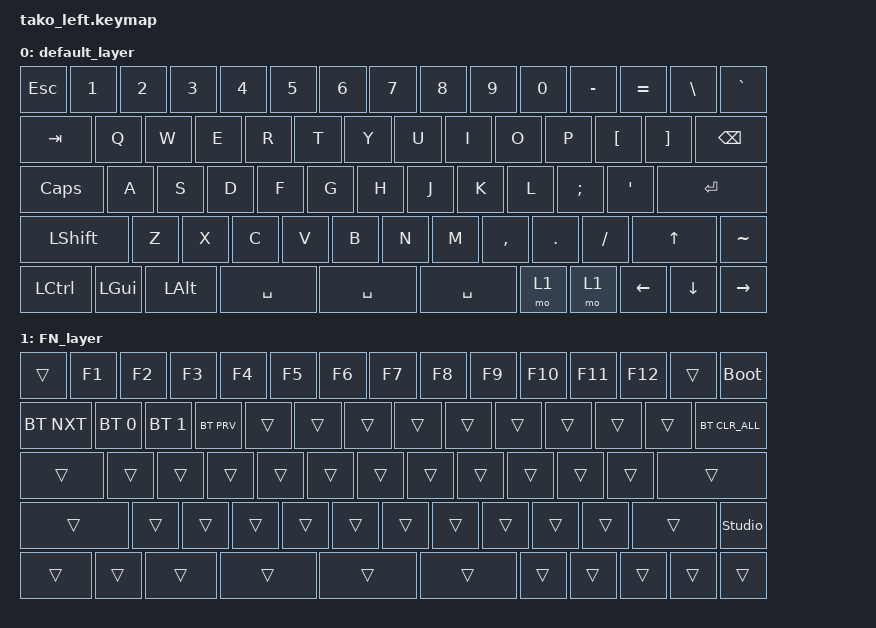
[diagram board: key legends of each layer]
/*
 * Copyright (c) 2020 The ZMK Contributors
 *
 * SPDX-License-Identifier: MIT
 */

#undef ZMK_BEHAVIORS_KEEP_ALL

#define ZMK_BEHAVIORS_KEEP_SK
#define ZMK_BEHAVIORS_KEEP_MT
#define ZMK_BEHAVIORS_KEEP_KT

#include <behaviors.dtsi>
#include <dt-bindings/zmk/keys.h>
#include <dt-bindings/zmk/bt.h>


// Using layer taps on thumbs, having quick tap as well helps w/ repeating space/backspace
&lt { quick_tap_ms = <200>; };

/ {
    behaviors {
        hm: homerow_mods {
            compatible = "zmk,behavior-hold-tap";
            label = "homerow mods";
            #binding-cells = <2>;
            tapping_term_ms = <200>;
            flavor = "tap-preferred";
            bindings = <&kp>, <&kp>;
        };
    };

    keymap {
        compatible = "zmk,keymap";

        default_layer {
            bindings = <
                &kp ESC  &kp N1  &kp N2  &kp N3  &kp N4  &kp N5  &kp N6  &kp N7  &kp N8  &kp N9  &kp N0  &kp MINUS  &kp EQUAL  &kp BSLH  &kp GRAVE
                &kp TAB  &kp Q   &kp W   &kp E   &kp R   &kp T   &kp Y   &kp U   &kp I   &kp O   &kp P   &kp LBKT   &kp RBKT   &kp BSPC
                &kp CAPS &kp A   &kp S   &kp D   &kp F   &kp G   &kp H   &kp J   &kp K   &kp L   &kp SEMI &kp APOS  &kp ENTER
                &kp LSHFT &kp Z  &kp X   &kp C   &kp V   &kp B   &kp N   &kp M  &kp COMMA &kp DOT &kp FSLH         &kp UP  &kp TILDE
                &kp LCTRL &kp LGUI  &kp LALT       &kp SPACE         &kp SPACE         &kp SPACE    &mo 1 &mo 1  &kp LEFT &kp DOWN &kp RIGHT
            >;
        };

        FN_layer {
            bindings = <
                &trans  &kp F1  &kp F2  &kp F3  &kp F4  &kp F5  &kp F6  &kp F7  &kp F8  &kp F9  &kp F10  &kp F11  &kp F12  &trans &bootloader
                &bt BT_NXT &bt BT_SEL 0  &bt BT_SEL 1   &bt BT_PRV  &trans   &trans  &trans  &trans  &trans  &trans &trans &trans &trans &bt BT_CLR_ALL
                &trans &trans   &trans  &trans   &trans   &trans  &trans   &trans  &trans  &trans   &trans &trans  &trans
                &trans &trans &trans   &trans   &trans   &trans   &trans  &trans  &trans &trans &trans  &trans &studio_unlock
                &trans &trans  &trans    &trans      &trans        &trans   &trans &trans  &trans &trans &trans
            >;
        };

        extra1 {
            status = "reserved";
        };
    };
};
